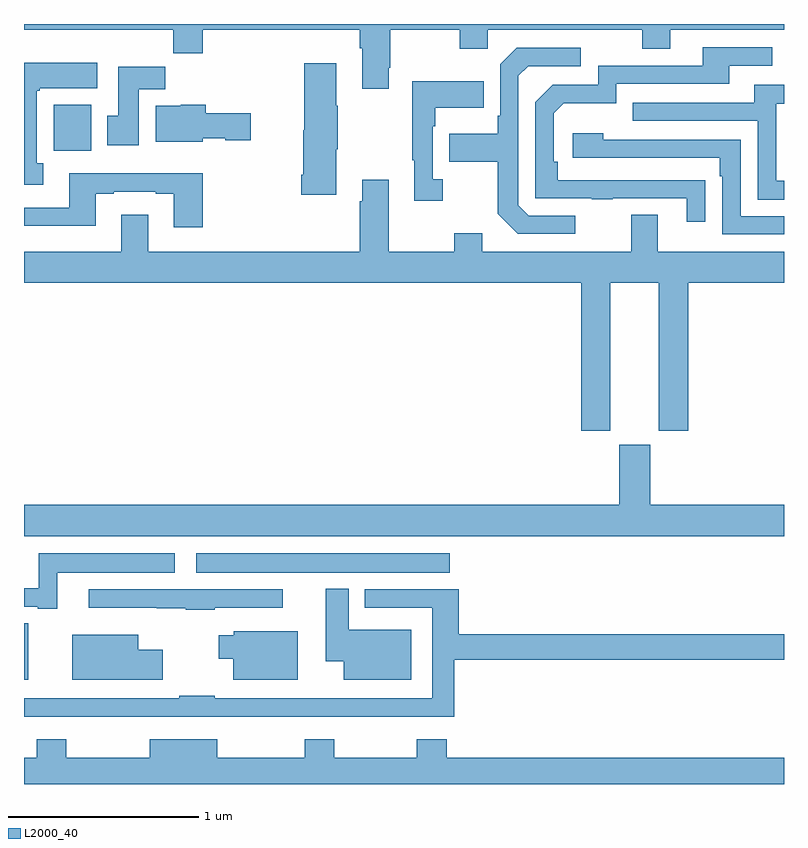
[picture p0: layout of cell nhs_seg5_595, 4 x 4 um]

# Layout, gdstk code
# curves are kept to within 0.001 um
import gdstk
lib = gdstk.Library(unit=1e-6, precision=1e-09)
def R(c, l, rs):  # rectangles x0, y0, x1, y1
    for r in rs: c.add(gdstk.rectangle(r[:2], r[2:], *l))
def P(c, l, *ps):  # polygons
    for p in ps: c.add(gdstk.Polygon(p, *l))
L2000_40 = (2000, 40)

nhs_seg5_595 = lib.new_cell('nhs_seg5_595')
R(nhs_seg5_595, L2000_40, [(149,845.348,149.023,845.644), (149.907,845.912,151.24,846.013), (149.156,848.132,149.353,848.374)])
P(nhs_seg5_595, L2000_40, [(150.919,848.569),(150.927,848.569),(150.927,848.768),(151.294,848.768),(151.294,848.669),(151.44,848.669),(151.44,848.768),(152.254,848.768),(152.254,848.669),(152.401,848.669),(152.401,848.768),(153,848.768),(153,848.799),(149,848.799),(149,848.768),(149.785,848.768),(149.785,848.644),(149.942,848.644),(149.942,848.768),(150.767,848.768),(150.767,848.672),(150.779,848.672),(150.779,848.457),(150.919,848.457)],
  [(152.585,847.976),(151.808,847.977),(151.808,848.074),(151.788,848.074),(151.788,848.328),(151.841,848.381),(152.118,848.381),(152.118,848.484),(152.713,848.484),(152.713,848.58),(152.938,848.58),(152.938,848.676),(152.573,848.676),(152.573,848.58),(152.022,848.58),(152.022,848.478),(151.782,848.478),(151.692,848.388),(151.692,847.881),(151.987,847.881),(151.987,847.876),(152.099,847.876),(152.099,847.881),(152.489,847.881),(152.489,847.758),(152.585,847.758)],
  [(151.9,847.791),(151.656,847.791),(151.602,847.845),(151.602,848.526),(151.653,848.577),(151.93,848.577),(151.93,848.673),(151.593,848.673),(151.506,848.586),(151.506,848.317),(151.494,848.317),(151.494,848.221),(151.237,848.221),(151.237,848.074),(151.494,848.074),(151.494,847.801),(151.599,847.695),(151.9,847.695)],
  [(149.101,848.066),(149.068,848.066),(149.068,848.449),(149.082,848.449),(149.082,848.462),(149.386,848.462),(149.386,848.596),(149,848.596),(149,847.953),(149.101,847.953)],
  [(150.643,848.141),(150.651,848.141),(150.651,848.369),(150.643,848.369),(150.643,848.593),(150.476,848.593),(150.476,848.241),(150.47,848.241),(150.47,848.005),(150.458,848.005),(150.458,847.901),(150.643,847.901)],
  [(149.605,848.456),(149.744,848.456),(149.744,848.575),(149.495,848.575),(149.495,848.316),(149.438,848.316),(149.438,848.16),(149.605,848.16)],
  [(151.204,847.982),(151.152,847.982),(151.152,848.261),(151.165,848.261),(151.165,848.357),(151.421,848.357),(151.421,848.497),(151.044,848.497),(151.044,848.081),(151.055,848.081),(151.055,847.869),(151.204,847.869)],
  [(153,847.974),(152.958,847.974),(152.958,848.379),(153,848.379),(153,848.479),(152.843,848.479),(152.843,848.385),(152.203,848.385),(152.203,848.289),(152.862,848.289),(152.862,847.873),(153,847.873)],
  [(149.94,848.198),(150.06,848.198),(150.06,848.186),(150.193,848.186),(150.193,848.328),(149.957,848.328),(149.957,848.374),(149.826,848.374),(149.826,848.368),(149.693,848.368),(149.693,848.18),(149.94,848.18)],
  [(153,847.788),(152.772,847.788),(152.772,848.19),(152.048,848.19),(152.048,848.224),(151.887,848.224),(151.887,848.094),(152.663,848.094),(152.663,847.997),(152.676,847.997),(152.676,847.692),(153,847.692)],
  [(149.942,848.014),(149.237,848.014),(149.237,847.833),(149,847.833),(149,847.736),(149.377,847.736),(149.377,847.905),(149.473,847.905),(149.473,847.917),(149.693,847.917),(149.693,847.905),(149.789,847.905),(149.789,847.728),(149.942,847.728)],
  [(152.086,847.436),(152.342,847.436),(152.342,846.657),(152.495,846.657),(152.495,847.436),(153,847.436),(153,847.6),(152.335,847.6),(152.335,847.795),(152.195,847.795),(152.195,847.6),(151.411,847.6),(151.411,847.699),(151.264,847.699),(151.264,847.6),(150.919,847.6),(150.919,847.978),(150.779,847.978),(150.779,847.865),(150.767,847.865),(150.767,847.6),(149.653,847.6),(149.653,847.795),(149.513,847.795),(149.513,847.6),(149,847.6),(149,847.436),(151.934,847.436),(151.934,846.657),(152.086,846.657)],
  [(153,846.268),(152.296,846.268),(152.296,846.585),(152.132,846.585),(152.132,846.268),(149,846.268),(149,846.104),(153,846.104)],
  [(149.176,845.912),(149.794,845.912),(149.794,846.013),(149.078,846.013),(149.078,845.829),(149,845.829),(149,845.733),(149.072,845.733),(149.072,845.721),(149.176,845.721)],
  [(151.039,845.611),(150.709,845.611),(150.709,845.827),(150.587,845.827),(150.587,845.444),(150.683,845.444),(150.683,845.348),(151.039,845.348)],
  [(149.567,845.154),(150.112,845.154),(150.112,845.153),(150.389,845.153),(150.389,845.154),(150.721,845.154),(150.721,845.153),(150.977,845.153),(150.977,845.154),(151.265,845.154),(151.265,845.452),(153,845.452),(153,845.588),(151.289,845.588),(151.289,845.823),(150.794,845.823),(150.794,845.727),(151.149,845.727),(151.149,845.25),(150.005,845.25),(150.005,845.263),(149.818,845.263),(149.818,845.25),(149,845.25),(149,845.154),(149.311,845.154),(149.311,845.153),(149.567,845.153)],
  [(150.005,845.727),(150.361,845.727),(150.361,845.823),(149.34,845.823),(149.34,845.726),(149.698,845.726),(149.698,845.725),(149.852,845.725),(149.852,845.715),(150.005,845.715)],
  [(150.442,845.602),(150.105,845.602),(150.105,845.581),(150.026,845.581),(150.026,845.459),(150.101,845.459),(150.101,845.348),(150.442,845.348)],
  [(149.731,845.506),(149.602,845.506),(149.602,845.584),(149.255,845.584),(149.255,845.348),(149.731,845.348)],
  [(153,844.936),(151.226,844.936),(151.226,845.035),(151.066,845.035),(151.066,844.936),(150.633,844.936),(150.633,845.035),(150.478,845.035),(150.478,844.936),(150.016,844.936),(150.016,845.035),(149.663,845.035),(149.663,844.936),(149.223,844.936),(149.223,845.035),(149.068,845.035),(149.068,844.936),(149,844.936),(149,844.799),(153,844.799)])

lib.write_gds('nhs_seg5_595.gds')
